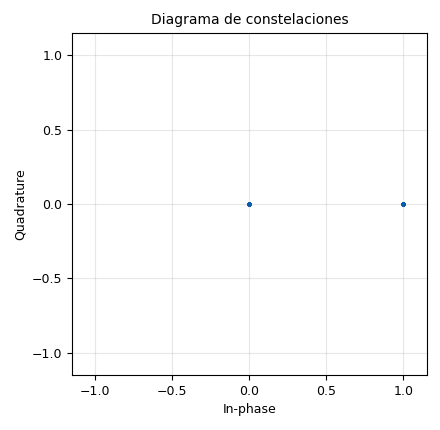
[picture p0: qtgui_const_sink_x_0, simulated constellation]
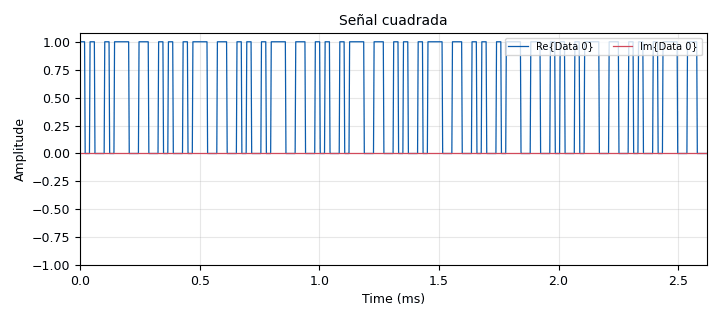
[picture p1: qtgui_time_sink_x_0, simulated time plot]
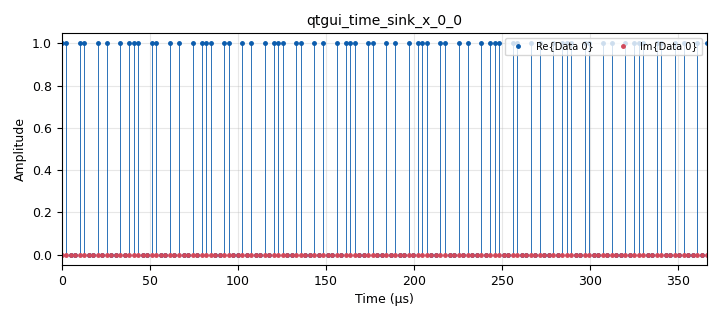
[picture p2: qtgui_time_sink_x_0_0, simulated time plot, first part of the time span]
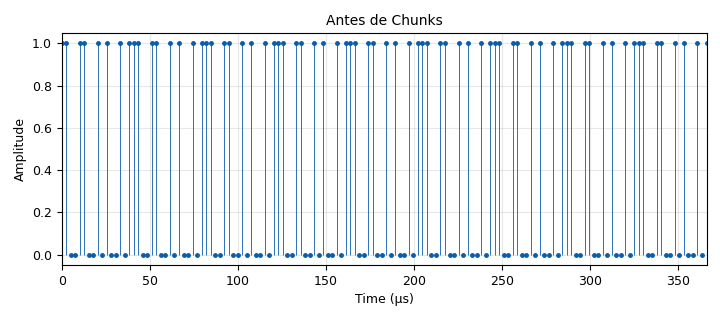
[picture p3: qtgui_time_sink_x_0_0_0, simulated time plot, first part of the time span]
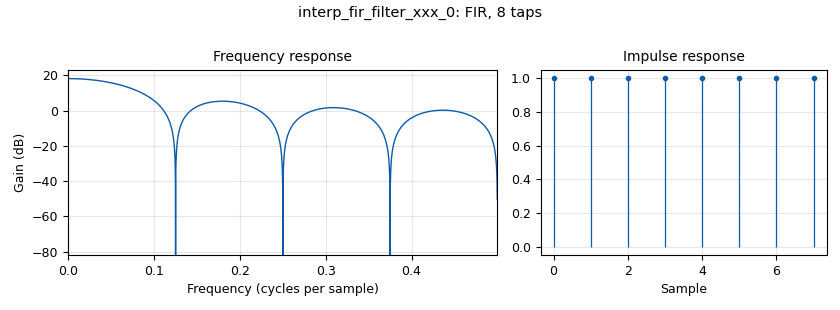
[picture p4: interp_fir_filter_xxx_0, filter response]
options:
  parameters:
    description: https://www.youtube.com/watch?v=2rsu-c26Tqo
    generate_options: qt_gui
    id: USRP_4
    output_language: python
    title: USRP_4 M-PSK
  states: {}

blocks:
- name: M
  id: variable
  parameters:
    value: len(module)
  states: {}
- name: Rb
  id: variable
  parameters:
    value: Rs*bps
  states: {}
- name: Rs
  id: variable
  parameters:
    value: '48828.125'
  states: {}
- name: Sps
  id: variable
  parameters:
    value: '8'
  states: {}
- name: Sps_0
  id: variable
  parameters:
    value: int(Sps/2)
  states: {}
- name: TrueBoardConstellation
  id: variable
  parameters:
    value: (0.77+0.77j,-0.77+0.77j,-0.77-0.77j,0.77-0.77j)
  states: {}
- name: bps
  id: variable
  parameters:
    value: int(math.log(M,2))
  states: {}
- name: constellation_2
  id: variable
  parameters:
    value: (0,1)
  states: {}
- name: h
  id: variable
  parameters:
    value: '[1]*Sps'
  states: {}
- name: module
  id: variable_qtgui_chooser
  parameters:
    gui_hint: 0,7,1,1
    label: modulación
    label0: TrueBoardConstellation
    label1: constellation_2
    num_opts: '2'
    option0: TrueBoardConstellation
    option1: constellation_2
    options: '[TrueBoardConstellation, constellation_2]'
    type: raw
    value: constellation_2
  states: {}
- name: samp_rate
  id: variable
  parameters:
    value: Rs*Sps
  states: {}
- name: samp_rate_2
  id: variable
  parameters:
    value: samp_rate*16
  states: {}
- name: Widget
  id: qtgui_tab_widget
  parameters:
    gui_hint: 0,0,1,7
    label0: Señal binaria
    label1: Señal cuadrada
    label2: Diagrama de constelaciones
    label3: Antes de Chunks
    num_tabs: '4'
  states: {}
- name: blocks_complex_to_mag_0
  id: blocks_complex_to_mag
  parameters: {}
  states: {state: disabled}
- name: blocks_file_sink_1
  id: blocks_file_sink
  parameters:
    file: G:\My Drive\ProgrammingProject\MaquinaNativa1\encrypted_data_rr.bin
    type: byte
  states: {state: disabled}
- name: blocks_file_source_0
  id: blocks_file_source
  parameters:
    file: G:\My Drive\ProgrammingProject\MaquinaNativa1\encrypted_data.bin
    repeat: 'True'
    type: byte
  states: {state: disabled}
- name: blocks_float_to_uchar_0
  id: blocks_float_to_uchar
  parameters: {}
  states: {state: disabled}
- name: blocks_keep_one_in_n_0
  id: blocks_keep_one_in_n
  parameters:
    n: '8'
    type: complex
  states: {state: disabled}
- name: blocks_pack_k_bits_bb_0
  id: blocks_pack_k_bits_bb
  parameters:
    k: '8'
  states: {state: disabled}
- name: blocks_pack_k_bits_bb_0_0
  id: blocks_pack_k_bits_bb
  parameters:
    k: '8'
  states: {state: disabled}
- name: blocks_packed_to_unpacked_xx_0
  id: blocks_packed_to_unpacked_xx
  parameters:
    bits_per_chunk: bps
    endianness: gr.GR_MSB_FIRST
    type: byte
  states: {state: disabled}
- name: blocks_uchar_to_float_0
  id: blocks_uchar_to_float
  parameters: {}
  states: {}
- name: blocks_unpack_k_bits_bb_0
  id: blocks_unpack_k_bits_bb
  parameters:
    k: '8'
  states: {state: disabled}
- name: blocks_vector_source_x_0
  id: blocks_vector_source_x
  parameters:
    repeat: 'True'
    tags: ''
    type: byte
    vector: (1,1,0,0,1,1,0,0,1,0,1,0,0,1,0,1)
  states: {}
- name: digital_chunks_to_symbols_xx_0
  id: digital_chunks_to_symbols_xx
  parameters:
    dimension: '1'
    in_type: byte
    out_type: complex
    symbol_table: module
  states: {}
- name: import_0
  id: import
  parameters:
    imports: import math
  states: {}
- name: import_1
  id: import
  parameters:
    imports: import numpy
  states: {}
- name: interp_fir_filter_xxx_0
  id: interp_fir_filter_xxx
  parameters:
    interp: Sps
    taps: h
    type: ccf
  states: {}
- name: qtgui_const_sink_x_0
  id: qtgui_const_sink_x
  parameters:
    autoscale: 'True'
    grid: 'True'
    gui_hint: Widget@2
    name: '"Diagrama de constelaciones"'
    size: '2048'
    type: complex
  states: {}
- name: qtgui_freq_sink_x_0
  id: qtgui_freq_sink_x
  parameters:
    autoscale: 'True'
    bw: samp_rate_1
    ctrlpanel: 'True'
    fc: '0'
    fftsize: '1024'
    grid: 'True'
    gui_hint: 0,1,1,1
    type: float
  states: {state: disabled}
- name: qtgui_time_sink_x_0
  id: qtgui_time_sink_x
  parameters:
    ctrlpanel: 'True'
    gui_hint: Widget@1
    name: '"Señal cuadrada"'
    size: '1024'
    srate: samp_rate
    type: complex
  states: {}
- name: qtgui_time_sink_x_0_0
  id: qtgui_time_sink_x
  parameters:
    autoscale: 'True'
    ctrlpanel: 'True'
    grid: 'True'
    gui_hint: Widget@0
    size: '1024'
    srate: samp_rate
    stemplot: 'True'
    type: complex
    update_time: '0.1'
  states: {}
- name: qtgui_time_sink_x_0_0_0
  id: qtgui_time_sink_x
  parameters:
    autoscale: 'True'
    ctrlpanel: 'True'
    grid: 'True'
    gui_hint: Widget@3
    name: Antes de Chunks
    size: '1024'
    srate: samp_rate
    stemplot: 'True'
    type: float
    update_time: '0.1'
  states: {}
- name: uhd_usrp_sink_0
  id: uhd_usrp_sink
  parameters:
    ant0: '"TX/RX"'
    center_freq0: 830e6
    gain0: '0'
    len_tag_name: ''
    samp_rate: samp_rate
    sync: none
    type: fc32
  states: {state: disabled}

connections:
- [blocks_complex_to_mag_0, '0', blocks_float_to_uchar_0, '0']
- [blocks_file_source_0, '0', blocks_pack_k_bits_bb_0, '0']
- [blocks_file_source_0, '0', blocks_unpack_k_bits_bb_0, '0']
- [blocks_float_to_uchar_0, '0', blocks_pack_k_bits_bb_0_0, '0']
- [blocks_keep_one_in_n_0, '0', blocks_complex_to_mag_0, '0']
- [blocks_pack_k_bits_bb_0, '0', blocks_packed_to_unpacked_xx_0, '0']
- [blocks_pack_k_bits_bb_0_0, '0', blocks_file_sink_1, '0']
- [blocks_packed_to_unpacked_xx_0, '0', blocks_uchar_to_float_0, '0']
- [blocks_packed_to_unpacked_xx_0, '0', digital_chunks_to_symbols_xx_0, '0']
- [blocks_uchar_to_float_0, '0', qtgui_time_sink_x_0_0_0, '0']
- [blocks_unpack_k_bits_bb_0, '0', blocks_uchar_to_float_0, '0']
- [blocks_unpack_k_bits_bb_0, '0', digital_chunks_to_symbols_xx_0, '0']
- [blocks_vector_source_x_0, '0', blocks_uchar_to_float_0, '0']
- [blocks_vector_source_x_0, '0', digital_chunks_to_symbols_xx_0, '0']
- [digital_chunks_to_symbols_xx_0, '0', interp_fir_filter_xxx_0, '0']
- [digital_chunks_to_symbols_xx_0, '0', qtgui_time_sink_x_0_0, '0']
- [interp_fir_filter_xxx_0, '0', blocks_keep_one_in_n_0, '0']
- [interp_fir_filter_xxx_0, '0', qtgui_const_sink_x_0, '0']
- [interp_fir_filter_xxx_0, '0', qtgui_time_sink_x_0, '0']
- [interp_fir_filter_xxx_0, '0', uhd_usrp_sink_0, '0']

metadata:
  file_format: 1
  grc_version: 3.10.3.0
